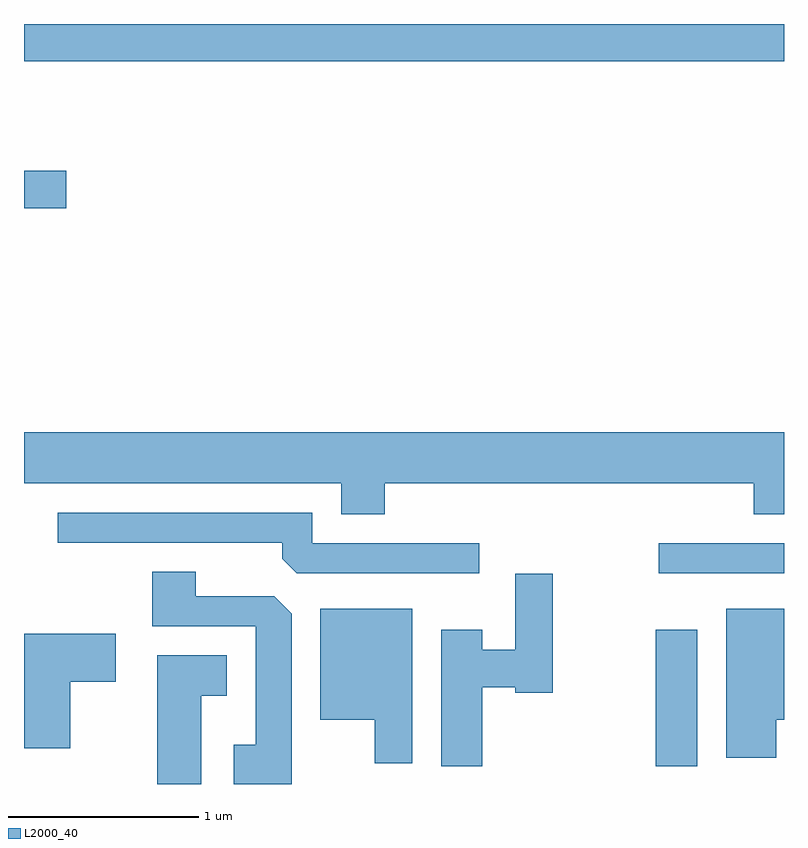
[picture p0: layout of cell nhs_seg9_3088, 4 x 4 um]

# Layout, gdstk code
import gdstk
lib = gdstk.Library(unit=1e-6, precision=1e-09)
def R(c, l, rs):  # rectangles x0, y0, x1, y1
    for r in rs: c.add(gdstk.rectangle(r[:2], r[2:], *l))
def P(c, l, *ps):  # polygons
    for p in ps: c.add(gdstk.Polygon(p, *l))
L2000_40 = (2000, 40)

nhs_seg9_3088 = lib.new_cell('nhs_seg9_3088')
R(nhs_seg9_3088, L2000_40, [(278.936,2012.526,279.154,2013.244), (278.953,2013.541,279.611,2013.699), (275.611,2015.461,275.834,2015.659), (275.611,2016.236,279.611,2016.432)])
P(nhs_seg9_3088, L2000_40, [(277.509,2014.016),(279.451,2014.016),(279.451,2013.851),(279.611,2013.851),(279.611,2014.284),(275.611,2014.284),(275.611,2014.016),(277.281,2014.016),(277.281,2013.851),(277.509,2013.851)],
  [(278.008,2013.699),(277.129,2013.699),(277.129,2013.859),(275.788,2013.859),(275.788,2013.701),(276.971,2013.701),(276.971,2013.617),(277.047,2013.541),(278.008,2013.541)],
  [(277.019,2013.329),(276.929,2013.419),(276.514,2013.419),(276.514,2013.549),(276.286,2013.549),(276.286,2013.261),(276.831,2013.261),(276.831,2012.639),(276.716,2012.639),(276.716,2012.432),(277.019,2012.432)],
  [(278.024,2012.941),(278.196,2012.941),(278.196,2012.911),(278.394,2012.911),(278.394,2013.539),(278.196,2013.539),(278.196,2013.139),(278.024,2013.139),(278.024,2013.244),(277.806,2013.244),(277.806,2012.526),(278.024,2012.526)],
  [(277.654,2013.354),(277.171,2013.354),(277.171,2012.771),(277.456,2012.771),(277.456,2012.541),(277.654,2012.541)],
  [(279.569,2012.771),(279.611,2012.771),(279.611,2013.354),(279.306,2013.354),(279.306,2012.571),(279.569,2012.571)],
  [(275.854,2012.971),(276.094,2012.971),(276.094,2013.224),(275.611,2013.224),(275.611,2012.621),(275.854,2012.621)],
  [(276.544,2012.896),(276.679,2012.896),(276.679,2013.109),(276.311,2013.109),(276.311,2012.432),(276.544,2012.432)])

lib.write_gds('nhs_seg9_3088.gds')
